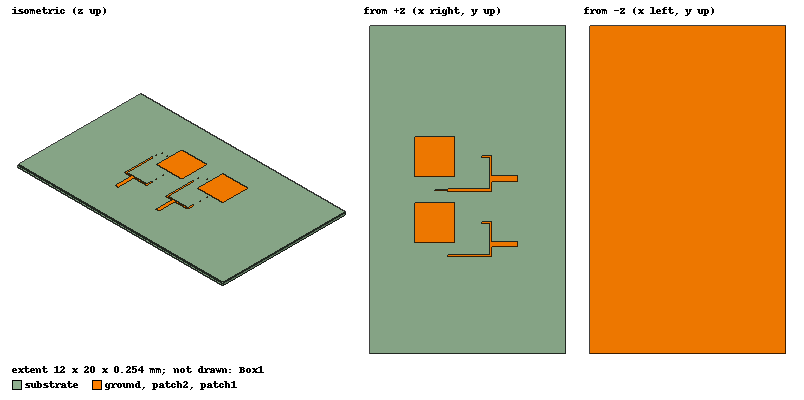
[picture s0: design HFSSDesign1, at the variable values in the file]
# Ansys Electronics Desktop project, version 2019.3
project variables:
  $y_space = 4mm
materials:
  vacuum: permittivity=1
  Rogers RO4003 (tm): permittivity=3.55 dielectric_loss_tangent=0.0027
  air: permittivity=1.0006 permeability=1.0000004

design HFSSDesign1 (HFSS, DrivenModal, model units mm)
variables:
  ls = 12mm
  ws = 20mm
  hs = 0.254mm
  lp = 2.465mm
  wp = 2.465mm
  w1 = 0.0124mm  # optimise 0.01mm..0.02mm
  w2 = 0.0124mm  # optimise 0.01mm..0.02mm
  v = 0.81mm
  w3 = 0.143mm
  L = 0.63622765mm
  w4 = 0.316mm
  Lbox = 14mm
  Wbpx = 14mm
  Hbox = 6mm
  Wbox = 23mm
  v1 = 0.81mm
  m = 0mm
  off = -0.1mm  # optimise -0.4mm..0.4mm
  L70 = 1.53mm
  w100 = 0.143mm
  l100 = 1mm
  y_space = $y_space
  T_width = 2*($y_space/2+w100/2)
  w_line = 0.5mm
  l_builter = ls/2-(lp/2+L +l70+l100+w100+1.62e-3-x_space)
  w_builter = 0.568mm
  x_space = 2mm
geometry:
  ground = rectangle(corner=(-ls/2, -ws/2, 0mm), x_size=ls, y_size=ws)
  substrate [Rogers RO4003 (tm)] = box(corner=(-ls/2, -ws/2, 0mm), size=(ls, ws, hs))
  Box1 [air] = box(corner=(-Lbox/2, -Wbox/2, -Hbox/2), size=(Lbox, Wbox, Hbox))
  coordinate_system RelativeCS1 = origin=(-x_space, -y_space/2, 0mm) x=(1mm, 0mm, 0mm) y=(0mm, 1mm, 0mm)
  port1 = rectangle(corner=((L+(2*v)+lp/2)+L70, -((wp/2)+(v/2)+(w4/2)-(v/2)+m)+off, hs), y_size=w4, z_size=-hs) in RelativeCS1
  patch1 = rectangle(corner=(-lp/2, -wp/2, hs), x_size=lp, y_size=wp) in RelativeCS1
  transformer23 = rectangle(corner=(lp/2, -w1/2, hs), x_size=2*v, y_size=w1) in RelativeCS1
  transformer24 = rectangle(corner=(-w2/2, -wp/2, hs), x_size=w2, y_size=-(v)) in RelativeCS1
  transformer25 = rectangle(corner=(-w2/2, (-wp/2)-(v), hs), x_size=v1, y_size=w2) in RelativeCS1
  T4 = rectangle(corner=(lp/2+(2*v), -w3/2, hs), x_size=L, y_size=w3) in RelativeCS1
  T5 = rectangle(corner=(v1-(w2/2), (-wp/2)-(v)-(w3/2)+(w2/2), hs), x_size=(lp/2)+(2*v)+L-(v1-w2/2), y_size=w3) in RelativeCS1
  T6 = rectangle(corner=((lp/2)+(L)+(2*v), w3/2, hs), x_size=-w3, y_size=-((wp/2)+(v)+w3-(w2/2))) in RelativeCS1
  feed1 = rectangle(corner=((L+(2*v)+lp/2), -((wp/2)+(v/2)+(w4/2)-(v/2)+m)+off, hs), x_size=L70, y_size=w4) in RelativeCS1
  patch1.unite(transformer23, transformer24, transformer25, T4, T5, T6, feed1)
  coordinate_system RelativeCS2 = origin=(-x_space, y_space/2, 0mm) x=(1mm, 0mm, 0mm) y=(0mm, 1mm, 0mm)
  patch2 = rectangle(corner=(-lp/2, -wp/2, hs), x_size=lp, y_size=wp) in RelativeCS2
  transformer26 = rectangle(corner=(lp/2, -w1/2, hs), x_size=2*v, y_size=w1) in RelativeCS2
  transformer27 = rectangle(corner=(-w2/2, -wp/2, hs), x_size=w2, y_size=-(v)) in RelativeCS2
  transformer28 = rectangle(corner=(-w2/2, (-wp/2)-(v), hs), x_size=v1, y_size=w2) in RelativeCS2
  T7 = rectangle(corner=(lp/2+(2*v), -w3/2, hs), x_size=L, y_size=w3) in RelativeCS2
  T8 = rectangle(corner=(v1-(w2/2), (-wp/2)-(v)-(w3/2)+(w2/2), hs), x_size=(lp/2)+(2*v)+L-(v1-w2/2), y_size=w3) in RelativeCS2
  T9 = rectangle(corner=((lp/2)+(L)+(2*v), w3/2, hs), x_size=-w3, y_size=-((wp/2)+(v)+w3-(w2/2))) in RelativeCS2
  feed2 = rectangle(corner=((L+(2*v)+lp/2), -((wp/2)+(v/2)+(w4/2)-(v/2)+m)+off, hs), x_size=L70, y_size=w4) in RelativeCS2
  patch2.unite(transformer26, transformer27, transformer28, T7, T8, T9, feed2)
  port2 = rectangle(corner=((L+(2*v)+lp/2)+L70, -((wp/2)+(v/2)+(w4/2)-(v/2)+m)+off, hs), y_size=w4, z_size=-hs) in RelativeCS2
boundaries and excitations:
  PerfE1: Perfect E Objects=ground
  Rad1: Radiation Objects=Box1
  PerfE2: Perfect E Objects=patch1
  PerfE3: Perfect E Objects=patch2
  1: Lumped Port Objects=port1 Modes{Mode1{IntLine{middle of port1.edge(3 of 4) -> middle of port1.edge(1 of 4)} CharImp=Zpi RenormImp=70ohm}} Impedance=70ohm
  2: Lumped Port Objects=port2 Modes{Mode1{IntLine{middle of port2.edge(3 of 4) -> middle of port2.edge(1 of 4)} CharImp=Zpi RenormImp=70ohm}} Impedance=70ohm
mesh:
  initial mesh: GlobalSurfApproximation{CurvedSurfaceApproxChoice=UseSlider SliderMeshSettings=1}
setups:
  Setup1: HfssDriven Frequency=30GHz MaxDeltaS=0.02 MaximumPasses=20 MinimumPasses=1 MinimumConvergedPasses=1 PercentRefinement=30 BasisOrder=1 PortAccuracy=2
    sweep Sweep: 29.9GHz to 30.1GHz, 15 points; disabled Type=Discrete
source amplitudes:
  1:1: 1W 0deg
  2:1: 0W 0deg
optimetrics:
  ParametricSetup1: Parametric Sim._Setups=[Setup1]
    sweep $y_space: LIN 1mm 15mm 1mm
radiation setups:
  Infinite Sphere1: Infinite Sphere Theta=-180deg..180deg step 2deg Phi=0deg..360deg step 2deg
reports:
  S Parameter Plot 1: dB(S(1,2)) vs $y_space on Setup1 : Sweep [Freq=all]
  Gain Plot 1: dB(GainTotal) vs phi on Setup1 : LastAdaptive, Infinite Sphere1 [$y_space=all Theta=0deg Freq=30GHz Phi=0deg]
